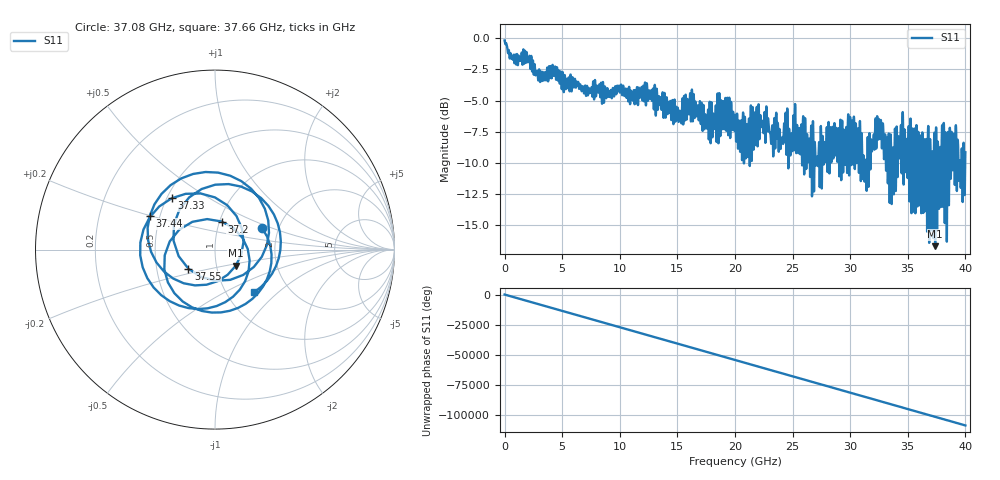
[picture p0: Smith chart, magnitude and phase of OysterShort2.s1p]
! File created by SignalIntegrity v1.1.1: Signal and Power Integrity Tools
! https://github.com/TeledyneLeCroy/SignalIntegrity
# MHz MA S R 50.0
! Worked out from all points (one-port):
!   8000 points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, 5 MHz to 40 GHz, reference 50 ohm
!   lowest |S11| = -16.7 dB at 37.38 GHz (marker M1), VSWR 1.34, Z = 61.9 - j11.4 ohm
!   |S11| at or under -10 dB: 31.18 GHz to 31.34 GHz (163.1 MHz wide, 0.522 % of centre); 36.99517 GHz to 37.09007 GHz (94.9 MHz wide, 0.256 % of centre); 39.54109 GHz to 39.64349 GHz (102.4 MHz wide, 0.259 % of centre) (the widest 3 of 73)
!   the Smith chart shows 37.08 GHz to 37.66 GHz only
!   S11 on the Smith chart (normalised r, x): 37.08 GHz: 1.64, +0.43; 37.2 GHz: 1.02, +0.33; 37.33 GHz: 0.53, +0.35; 37.44 GHz: 0.44, +0.20; 37.55 GHz: 0.73, -0.16; 37.66 GHz: 1.35, -0.71
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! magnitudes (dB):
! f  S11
! 5 MHz  -0.2
! 5.005 GHz  -3.3
! 10.01 GHz  -4.3
! 15.01 GHz  -5.9
! 16.25 GHz  -4.1
! 17.55 GHz  -7.1
! 20 GHz  -6.3
! 20.95 GHz  -9.4
! 22.04 GHz  -5.4
! 25 GHz  -8.8
! 27.03 GHz  -10.1
! 30 GHz  -6.4
! 30.83 GHz  -7.0
! 31.26 GHz  -11.4
! 32.51 GHz  -6.7
! 33.6 GHz  -13.2
! 34.4 GHz  -7.1
! 35.01 GHz  -10.4
! 37.08 GHz  -10.8
! 37.2 GHz  -15.9
! 37.33 GHz  -8.5
! 37.38 GHz  -16.7
! 37.44 GHz  -7.8
! 37.55 GHz  -14.8
! 37.66 GHz  -9.8
! 38.99 GHz  -7.7
! 39.59 GHz  -12.0
! 40 GHz  -9.2
